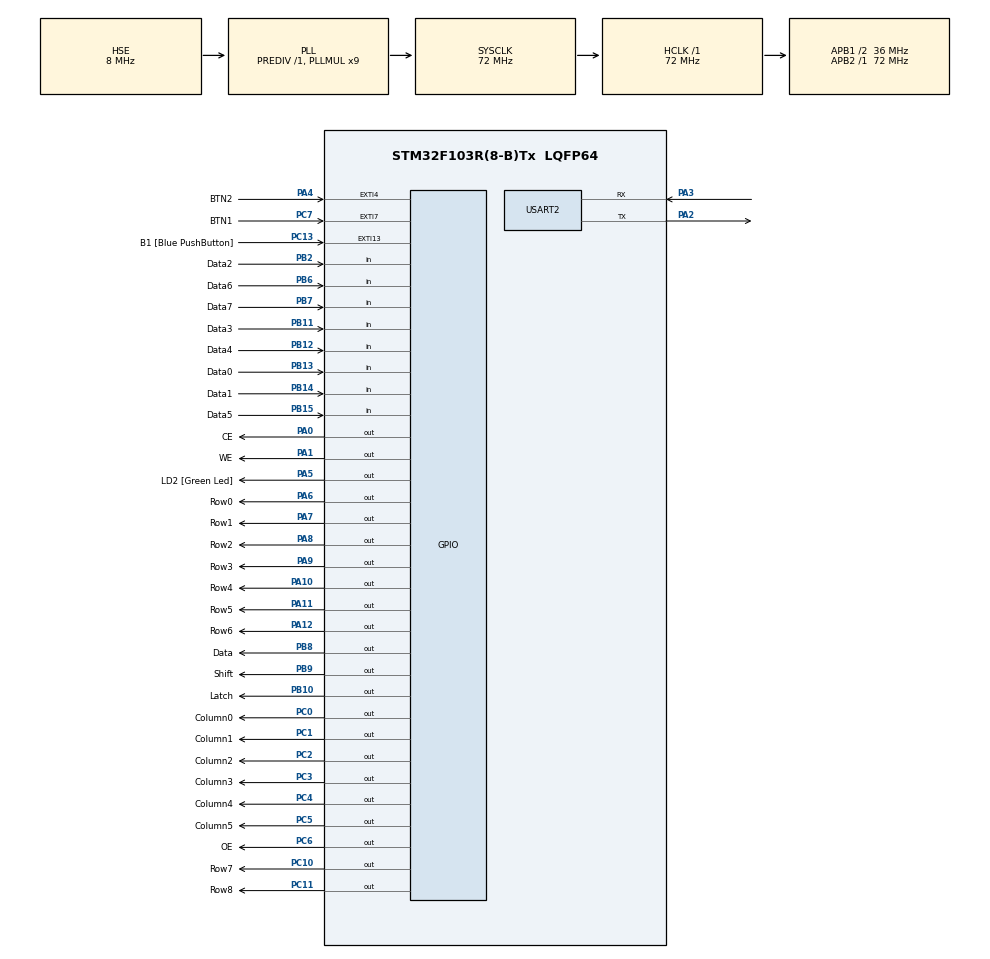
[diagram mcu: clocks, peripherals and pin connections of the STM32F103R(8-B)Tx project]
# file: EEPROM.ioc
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Mcu.Family=STM32F1
Mcu.Name=STM32F103R(8-B)Tx
Mcu.Package=LQFP64
NVIC.EXTI15_10_IRQn=true\:0\:0\:false\:false\:true\:true\:true\:true
NVIC.EXTI4_IRQn=true\:0\:0\:false\:false\:true\:true\:true\:true
NVIC.EXTI9_5_IRQn=true\:0\:0\:false\:false\:true\:true\:true\:true
NVIC.PriorityGroup=NVIC_PRIORITYGROUP_4
NVIC.USART2_IRQn=true\:0\:0\:false\:false\:true\:true\:true\:true
PA0-WKUP.GPIO_Label=CE
PA0-WKUP.GPIO_ModeDefaultOutputPP=GPIO_MODE_OUTPUT_OD
PA0-WKUP.GPIO_PuPd=GPIO_NOPULL
PA0-WKUP.Signal=GPIO_Output
PA1.GPIO_Label=WE
PA1.GPIO_ModeDefaultOutputPP=GPIO_MODE_OUTPUT_OD
PA1.GPIO_PuPd=GPIO_NOPULL
PA1.Signal=GPIO_Output
PA10.GPIO_Label=Row4
PA10.GPIO_ModeDefaultOutputPP=GPIO_MODE_OUTPUT_OD
PA10.GPIO_PuPd=GPIO_NOPULL
PA10.Signal=GPIO_Output
PA11.GPIO_Label=Row5
PA11.GPIO_ModeDefaultOutputPP=GPIO_MODE_OUTPUT_OD
PA11.GPIO_PuPd=GPIO_NOPULL
PA11.Signal=GPIO_Output
PA12.GPIO_Label=Row6
PA12.GPIO_ModeDefaultOutputPP=GPIO_MODE_OUTPUT_OD
PA12.GPIO_PuPd=GPIO_NOPULL
PA12.Signal=GPIO_Output
PA2.Mode=Asynchronous
PA2.Signal=USART2_TX
PA3.Mode=Asynchronous
PA3.Signal=USART2_RX
PA4.GPIO_Label=BTN2
PA4.Signal=GPXTI4
PA5.GPIO_Label=LD2 [Green Led]
PA5.GPIO_ModeDefaultOutputPP=GPIO_MODE_OUTPUT_PP
PA5.GPIO_PuPd=GPIO_NOPULL
PA5.GPIO_Speed=GPIO_SPEED_FREQ_LOW
PA5.Signal=GPIO_Output
PA6.GPIO_Label=Row0
PA6.GPIO_ModeDefaultOutputPP=GPIO_MODE_OUTPUT_OD
PA6.GPIO_PuPd=GPIO_NOPULL
PA6.Signal=GPIO_Output
PA7.GPIO_Label=Row1
PA7.GPIO_ModeDefaultOutputPP=GPIO_MODE_OUTPUT_OD
PA7.GPIO_PuPd=GPIO_NOPULL
PA7.Signal=GPIO_Output
PA8.GPIO_Label=Row2
PA8.GPIO_ModeDefaultOutputPP=GPIO_MODE_OUTPUT_OD
PA8.GPIO_PuPd=GPIO_NOPULL
PA8.Signal=GPIO_Output
PA9.GPIO_Label=Row3
PA9.GPIO_ModeDefaultOutputPP=GPIO_MODE_OUTPUT_OD
PA9.GPIO_PuPd=GPIO_NOPULL
PA9.Signal=GPIO_Output
PB10.GPIO_Label=Latch
PB10.GPIO_ModeDefaultOutputPP=GPIO_MODE_OUTPUT_PP
PB10.GPIO_PuPd=GPIO_NOPULL
PB10.Signal=GPIO_Output
PB11.GPIO_Label=Data3
PB11.Signal=GPIO_Input
PB12.GPIO_Label=Data4
PB12.Signal=GPIO_Input
PB13.GPIO_Label=Data0
PB13.Signal=GPIO_Input
PB14.GPIO_Label=Data1
PB14.Signal=GPIO_Input
PB15.GPIO_Label=Data5
PB15.Signal=GPIO_Input
PB2.GPIO_Label=Data2
PB2.Signal=GPIO_Input
PB6.GPIO_Label=Data6
PB6.Signal=GPIO_Input
PB7.GPIO_Label=Data7
PB7.Signal=GPIO_Input
PB8.GPIO_Label=Data
PB8.GPIO_ModeDefaultOutputPP=GPIO_MODE_OUTPUT_PP
PB8.GPIO_PuPd=GPIO_NOPULL
PB8.Signal=GPIO_Output
PB9.GPIO_Label=Shift
PB9.GPIO_ModeDefaultOutputPP=GPIO_MODE_OUTPUT_PP
PB9.GPIO_PuPd=GPIO_NOPULL
PB9.Signal=GPIO_Output
PC0.GPIO_Label=Column0
PC0.GPIO_ModeDefaultOutputPP=GPIO_MODE_OUTPUT_OD
PC0.GPIO_PuPd=GPIO_NOPULL
PC0.Signal=GPIO_Output
PC1.GPIO_Label=Column1
PC1.GPIO_ModeDefaultOutputPP=GPIO_MODE_OUTPUT_OD
PC1.GPIO_PuPd=GPIO_NOPULL
PC1.Signal=GPIO_Output
PC10.GPIO_Label=Row7
PC10.GPIO_ModeDefaultOutputPP=GPIO_MODE_OUTPUT_OD
PC10.GPIO_PuPd=GPIO_NOPULL
PC10.Signal=GPIO_Output
PC11.GPIO_Label=Row8
PC11.GPIO_ModeDefaultOutputPP=GPIO_MODE_OUTPUT_OD
PC11.GPIO_PuPd=GPIO_NOPULL
PC11.Signal=GPIO_Output
PC13-TAMPER-RTC.GPIO_Label=B1 [Blue PushButton]
PC13-TAMPER-RTC.GPIO_ModeDefaultEXTI=GPIO_MODE_IT_FALLING
PC13-TAMPER-RTC.GPIO_PuPd=GPIO_NOPULL
PC13-TAMPER-RTC.Signal=GPXTI13
PC14-OSC32_IN.Signal=RCC_OSC32_IN
PC15-OSC32_OUT.Signal=RCC_OSC32_OUT
PC2.GPIO_Label=Column2
PC2.GPIO_ModeDefaultOutputPP=GPIO_MODE_OUTPUT_OD
PC2.GPIO_PuPd=GPIO_NOPULL
PC2.Signal=GPIO_Output
PC3.GPIO_Label=Column3
PC3.GPIO_ModeDefaultOutputPP=GPIO_MODE_OUTPUT_OD
PC3.GPIO_PuPd=GPIO_NOPULL
PC3.Signal=GPIO_Output
PC4.GPIO_Label=Column4
PC4.GPIO_ModeDefaultOutputPP=GPIO_MODE_OUTPUT_OD
PC4.GPIO_PuPd=GPIO_NOPULL
PC4.Signal=GPIO_Output
PC5.GPIO_Label=Column5
PC5.GPIO_ModeDefaultOutputPP=GPIO_MODE_OUTPUT_OD
PC5.GPIO_PuPd=GPIO_NOPULL
PC5.Signal=GPIO_Output
PC6.GPIO_Label=OE
PC6.GPIO_ModeDefaultOutputPP=GPIO_MODE_OUTPUT_OD
PC6.GPIO_PuPd=GPIO_NOPULL
PC6.Signal=GPIO_Output
PC7.GPIO_Label=BTN1
PC7.Signal=GPXTI7
PD0-OSC_IN.Mode=HSE-External-Oscillator
PD0-OSC_IN.Signal=RCC_OSC_IN
PD1-OSC_OUT.Mode=HSE-External-Oscillator
PD1-OSC_OUT.Signal=RCC_OSC_OUT
ProjectManager.HeapSize=0x200
ProjectManager.StackSize=0x400
ProjectManager.TargetToolchain=MDK-ARM V5.32
RCC.AHBFreq_Value=72000000
RCC.APB1CLKDivider=RCC_HCLK_DIV2
RCC.APB1Freq_Value=36000000
RCC.APB1TimFreq_Value=72000000
RCC.APB2Freq_Value=72000000
RCC.APB2TimFreq_Value=72000000
RCC.HCLKFreq_Value=72000000
RCC.PLLMUL=RCC_PLL_MUL9
RCC.PLLSourceVirtual=RCC_PLLSOURCE_HSE
RCC.SYSCLKFreq_VALUE=72000000
RCC.SYSCLKSource=RCC_SYSCLKSOURCE_PLLCLK
RCC.USBFreq_Value=72000000
USART2.VirtualMode=VM_ASYNC
VP_SYS_VS_ND.Mode=No_Debug
board=NUCLEO-F103RB

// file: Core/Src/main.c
/* USER CODE BEGIN Header */
/**
  ******************************************************************************
  * @file           : main.c
  * @brief          : Main program body
  ******************************************************************************
  * @attention
  *
  * Copyright (c) 2022 STMicroelectronics.
  * All rights reserved.
  *
  * This software is licensed under terms that can be found in the LICENSE file
  * in the root directory of this software component.
  * If no LICENSE file comes with this software, it is provided AS-IS.
  *
  ******************************************************************************
  */
/* USER CODE END Header */
#include "main.h"

UART_HandleTypeDef huart2;

/* USER CODE BEGIN PV */

const int packSize = 64;
uint8_t recvBuf;
uint8_t sendBuf[64];
uint8_t sendBufBig[64*2];

int flag_irq = 0;
int time_irq = 0;

uint8_t data[8];
int row = 0;
int col = 0;
int bufCol = 0;
int bufRow = 0;

/* USER CODE END PV */

void SystemClock_Config(void);
static void MX_GPIO_Init(void);
static void MX_USART2_UART_Init(void);

int main(void)
{

  /* MCU Configuration--------------------------------------------------------*/

  /* Reset of all peripherals, Initializes the Flash interface and the Systick. */
  HAL_Init();

  /* Configure the system clock */
  SystemClock_Config();

  /* Initialize all configured peripherals */
  MX_GPIO_Init();
  MX_USART2_UART_Init();

  /* Infinite loop */
  /* USER CODE BEGIN WHILE */

	HAL_UART_Receive_IT (&huart2, &recvBuf, 1);

  while (1)
  {

    /* USER CODE END WHILE */

  }
}

void SystemClock_Config(void)
{
  RCC_OscInitTypeDef RCC_OscInitStruct = {0};
  RCC_ClkInitTypeDef RCC_ClkInitStruct = {0};

  /** Initializes the RCC Oscillators according to the specified parameters
  * in the RCC_OscInitTypeDef structure.
  */
  RCC_OscInitStruct.OscillatorType = RCC_OSCILLATORTYPE_HSE;
  RCC_OscInitStruct.HSEState = RCC_HSE_ON;
  RCC_OscInitStruct.HSEPredivValue = RCC_HSE_PREDIV_DIV1;
  RCC_OscInitStruct.HSIState = RCC_HSI_ON;
  RCC_OscInitStruct.PLL.PLLState = RCC_PLL_ON;
  RCC_OscInitStruct.PLL.PLLSource = RCC_PLLSOURCE_HSE;
  RCC_OscInitStruct.PLL.PLLMUL = RCC_PLL_MUL9;
  if (HAL_RCC_OscConfig(&RCC_OscInitStruct) != HAL_OK)
  {
    Error_Handler();
  }

  /** Initializes the CPU, AHB and APB buses clocks
  */
  RCC_ClkInitStruct.ClockType = RCC_CLOCKTYPE_HCLK|RCC_CLOCKTYPE_SYSCLK
                              |RCC_CLOCKTYPE_PCLK1|RCC_CLOCKTYPE_PCLK2;
  RCC_ClkInitStruct.SYSCLKSource = RCC_SYSCLKSOURCE_PLLCLK;
  RCC_ClkInitStruct.AHBCLKDivider = RCC_SYSCLK_DIV1;
  RCC_ClkInitStruct.APB1CLKDivider = RCC_HCLK_DIV2;
  RCC_ClkInitStruct.APB2CLKDivider = RCC_HCLK_DIV1;

  if (HAL_RCC_ClockConfig(&RCC_ClkInitStruct, FLASH_LATENCY_2) != HAL_OK)
  {
    Error_Handler();
  }
}

static void MX_USART2_UART_Init(void)
{

  huart2.Instance = USART2;
  huart2.Init.BaudRate = 115200;
  huart2.Init.WordLength = UART_WORDLENGTH_8B;
  huart2.Init.StopBits = UART_STOPBITS_1;
  huart2.Init.Parity = UART_PARITY_NONE;
  huart2.Init.Mode = UART_MODE_TX_RX;
  huart2.Init.HwFlowCtl = UART_HWCONTROL_NONE;
  huart2.Init.OverSampling = UART_OVERSAMPLING_16;
  if (HAL_UART_Init(&huart2) != HAL_OK)
  {
    Error_Handler();
  }

}

static void MX_GPIO_Init(void)
{
  GPIO_InitTypeDef GPIO_InitStruct = {0};

  /* GPIO Ports Clock Enable */
  __HAL_RCC_GPIOC_CLK_ENABLE();
  __HAL_RCC_GPIOD_CLK_ENABLE();
  __HAL_RCC_GPIOA_CLK_ENABLE();
  __HAL_RCC_GPIOB_CLK_ENABLE();

  /*Configure GPIO pin Output Level */
  HAL_GPIO_WritePin(GPIOC, Column0_Pin|Column1_Pin|Column2_Pin|Column3_Pin
                          |Column4_Pin|Column5_Pin|OE_Pin|Row7_Pin
                          |Row8_Pin, GPIO_PIN_RESET);

  /*Configure GPIO pin Output Level */
  HAL_GPIO_WritePin(GPIOA, CE_Pin|WE_Pin|LD2_Pin|Row0_Pin
                          |Row1_Pin|Row2_Pin|Row3_Pin|Row4_Pin
                          |Row5_Pin|Row6_Pin, GPIO_PIN_RESET);

  /*Configure GPIO pin Output Level */
  HAL_GPIO_WritePin(GPIOB, Latch_Pin|Data_Pin|Shift_Pin, GPIO_PIN_RESET);

  /*Configure GPIO pin : B1_Pin */
  GPIO_InitStruct.Pin = B1_Pin;
  GPIO_InitStruct.Mode = GPIO_MODE_IT_FALLING;
  GPIO_InitStruct.Pull = GPIO_NOPULL;
  HAL_GPIO_Init(B1_GPIO_Port, &GPIO_InitStruct);

  /*Configure GPIO pins : Column0_Pin Column1_Pin Column2_Pin Column3_Pin
                           Column4_Pin Column5_Pin OE_Pin Row7_Pin
                           Row8_Pin */
  GPIO_InitStruct.Pin = Column0_Pin|Column1_Pin|Column2_Pin|Column3_Pin
                          |Column4_Pin|Column5_Pin|OE_Pin|Row7_Pin
                          |Row8_Pin;
  GPIO_InitStruct.Mode = GPIO_MODE_OUTPUT_OD;
  GPIO_InitStruct.Pull = GPIO_NOPULL;
  GPIO_InitStruct.Speed = GPIO_SPEED_FREQ_LOW;
  HAL_GPIO_Init(GPIOC, &GPIO_InitStruct);

  /*Configure GPIO pins : CE_Pin WE_Pin Row0_Pin Row1_Pin
                           Row2_Pin Row3_Pin Row4_Pin Row5_Pin
                           Row6_Pin */
  GPIO_InitStruct.Pin = CE_Pin|WE_Pin|Row0_Pin|Row1_Pin
                          |Row2_Pin|Row3_Pin|Row4_Pin|Row5_Pin
                          |Row6_Pin;
  GPIO_InitStruct.Mode = GPIO_MODE_OUTPUT_OD;
  GPIO_InitStruct.Pull = GPIO_NOPULL;
  GPIO_InitStruct.Speed = GPIO_SPEED_FREQ_LOW;
  HAL_GPIO_Init(GPIOA, &GPIO_InitStruct);

  /*Configure GPIO pin : BTN2_Pin */
  GPIO_InitStruct.Pin = BTN2_Pin;
  GPIO_InitStruct.Mode = GPIO_MODE_IT_RISING;
  GPIO_InitStruct.Pull = GPIO_NOPULL;
  HAL_GPIO_Init(BTN2_GPIO_Port, &GPIO_InitStruct);

  /*Configure GPIO pin : LD2_Pin */
  GPIO_InitStruct.Pin = LD2_Pin;
  GPIO_InitStruct.Mode = GPIO_MODE_OUTPUT_PP;
  GPIO_InitStruct.Pull = GPIO_NOPULL;
  GPIO_InitStruct.Speed = GPIO_SPEED_FREQ_LOW;
  HAL_GPIO_Init(LD2_GPIO_Port, &GPIO_InitStruct);

  /*Configure GPIO pins : Data2_Pin Data3_Pin Data4_Pin Data0_Pin
                           Data1_Pin Data5_Pin Data6_Pin Data7_Pin */
  GPIO_InitStruct.Pin = Data2_Pin|Data3_Pin|Data4_Pin|Data0_Pin
                          |Data1_Pin|Data5_Pin|Data6_Pin|Data7_Pin;
  GPIO_InitStruct.Mode = GPIO_MODE_INPUT;
  GPIO_InitStruct.Pull = GPIO_NOPULL;
  HAL_GPIO_Init(GPIOB, &GPIO_InitStruct);

  /*Configure GPIO pins : Latch_Pin Data_Pin Shift_Pin */
  GPIO_InitStruct.Pin = Latch_Pin|Data_Pin|Shift_Pin;
  GPIO_InitStruct.Mode = GPIO_MODE_OUTPUT_PP;
  GPIO_InitStruct.Pull = GPIO_NOPULL;
  GPIO_InitStruct.Speed = GPIO_SPEED_FREQ_LOW;
  HAL_GPIO_Init(GPIOB, &GPIO_InitStruct);

  /*Configure GPIO pin : BTN1_Pin */
  GPIO_InitStruct.Pin = BTN1_Pin;
  GPIO_InitStruct.Mode = GPIO_MODE_IT_RISING;
  GPIO_InitStruct.Pull = GPIO_NOPULL;
  HAL_GPIO_Init(BTN1_GPIO_Port, &GPIO_InitStruct);

  /* EXTI interrupt init*/
  HAL_NVIC_SetPriority(EXTI4_IRQn, 0, 0);
  HAL_NVIC_EnableIRQ(EXTI4_IRQn);

  HAL_NVIC_SetPriority(EXTI9_5_IRQn, 0, 0);
  HAL_NVIC_EnableIRQ(EXTI9_5_IRQn);

  HAL_NVIC_SetPriority(EXTI15_10_IRQn, 0, 0);
  HAL_NVIC_EnableIRQ(EXTI15_10_IRQn);

}

/* USER CODE BEGIN 4 */
uint8_t ReadEEPROM(){

	HAL_GPIO_WritePin(CE_GPIO_Port, CE_Pin, GPIO_PIN_RESET);
	HAL_GPIO_WritePin(WE_GPIO_Port, WE_Pin, GPIO_PIN_SET);

	HAL_GPIO_WritePin(Row0_GPIO_Port, Row0_Pin, GPIO_PIN_RESET);
	HAL_GPIO_WritePin(Row1_GPIO_Port, Row1_Pin, GPIO_PIN_RESET);
	HAL_GPIO_WritePin(Row2_GPIO_Port, Row2_Pin, GPIO_PIN_RESET);
	HAL_GPIO_WritePin(Row3_GPIO_Port, Row3_Pin, GPIO_PIN_RESET);
	HAL_GPIO_WritePin(Row4_GPIO_Port, Row4_Pin, GPIO_PIN_RESET);
	HAL_GPIO_WritePin(Row5_GPIO_Port, Row5_Pin, GPIO_PIN_RESET);
	HAL_GPIO_WritePin(Row6_GPIO_Port, Row6_Pin, GPIO_PIN_RESET);
	HAL_GPIO_WritePin(Row7_GPIO_Port, Row7_Pin, GPIO_PIN_RESET);
	HAL_GPIO_WritePin(Row8_GPIO_Port, Row8_Pin, GPIO_PIN_RESET);
	HAL_GPIO_WritePin(Column0_GPIO_Port, Column0_Pin, GPIO_PIN_RESET);
	HAL_GPIO_WritePin(Column1_GPIO_Port, Column1_Pin, GPIO_PIN_RESET);
	HAL_GPIO_WritePin(Column2_GPIO_Port, Column2_Pin, GPIO_PIN_RESET);
	HAL_GPIO_WritePin(Column3_GPIO_Port, Column3_Pin, GPIO_PIN_RESET);
	HAL_GPIO_WritePin(Column4_GPIO_Port, Column4_Pin, GPIO_PIN_RESET);
	HAL_GPIO_WritePin(Column5_GPIO_Port, Column5_Pin, GPIO_PIN_RESET);

	if ((row & 0b000000001) == 1)
		HAL_GPIO_WritePin(Row0_GPIO_Port, Row0_Pin, GPIO_PIN_SET);
	if (((row & 0b000000010) >> 1) == 1)
		HAL_GPIO_WritePin(Row1_GPIO_Port, Row1_Pin, GPIO_PIN_SET);
	if (((row & 0b000000100) >> 2) == 1)
		HAL_GPIO_WritePin(Row2_GPIO_Port, Row2_Pin, GPIO_PIN_SET);
	if (((row & 0b000001000) >> 3) == 1)
		HAL_GPIO_WritePin(Row3_GPIO_Port, Row3_Pin, GPIO_PIN_SET);
	if (((row & 0b000010000) >> 4) == 1)
		HAL_GPIO_WritePin(Row4_GPIO_Port, Row4_Pin, GPIO_PIN_SET);
	if (((row & 0b000100000) >> 5) == 1)
		HAL_GPIO_WritePin(Row5_GPIO_Port, Row5_Pin, GPIO_PIN_SET);
	if (((row & 0b001000000) >> 6) == 1)
		HAL_GPIO_WritePin(Row6_GPIO_Port, Row6_Pin, GPIO_PIN_SET);
	if (((row & 0b010000000) >> 7) == 1)
		HAL_GPIO_WritePin(Row7_GPIO_Port, Row7_Pin, GPIO_PIN_SET);
	if (((row & 0b100000000) >> 8) == 1)
		HAL_GPIO_WritePin(Row8_GPIO_Port, Row8_Pin, GPIO_PIN_SET);

	if ((col & 0b000001) == 1)
		HAL_GPIO_WritePin(Column0_GPIO_Port, Column0_Pin, GPIO_PIN_SET);
	if (((col & 0b000010) >> 1) == 1)
		HAL_GPIO_WritePin(Column1_GPIO_Port, Column1_Pin, GPIO_PIN_SET);
	if (((col & 0b000100) >> 2) == 1)
		HAL_GPIO_WritePin(Column2_GPIO_Port, Column2_Pin, GPIO_PIN_SET);
	if (((col & 0b001000) >> 3) == 1)
		HAL_GPIO_WritePin(Column3_GPIO_Port, Column3_Pin, GPIO_PIN_SET);
	if (((col & 0b010000) >> 4) == 1)
		HAL_GPIO_WritePin(Column4_GPIO_Port, Column4_Pin, GPIO_PIN_SET);
	if (((col & 0b100000) >> 5) == 1)
		HAL_GPIO_WritePin(Column5_GPIO_Port, Column5_Pin, GPIO_PIN_SET);

	HAL_GPIO_WritePin(OE_GPIO_Port, OE_Pin, GPIO_PIN_RESET);

	data[0] = HAL_GPIO_ReadPin(Data0_GPIO_Port, Data0_Pin);
	data[1] = HAL_GPIO_ReadPin(Data1_GPIO_Port, Data1_Pin);
	data[2] = HAL_GPIO_ReadPin(Data2_GPIO_Port, Data2_Pin);
	data[3] = HAL_GPIO_ReadPin(Data3_GPIO_Port, Data3_Pin);
	data[4] = HAL_GPIO_ReadPin(Data4_GPIO_Port, Data4_Pin);
	data[5] = HAL_GPIO_ReadPin(Data5_GPIO_Port, Data5_Pin);
	data[6] = HAL_GPIO_ReadPin(Data6_GPIO_Port, Data6_Pin);
	data[7] = HAL_GPIO_ReadPin(Data7_GPIO_Port, Data7_Pin);

	//if ((data[7] << 7) + (data[6] << 6) + (data[5] << 5) + (data[4] << 4) + (data[3] << 3) + (data[2] << 2) + (data[1] << 1) + data[0] != 0b11111111)
	//{
	//	HAL_GPIO_WritePin(LD2_GPIO_Port, LD2_Pin, GPIO_PIN_SET);
	//	while(1){
	//	}
	//}

	HAL_GPIO_WritePin(CE_GPIO_Port, CE_Pin, GPIO_PIN_RESET);
	HAL_GPIO_WritePin(OE_GPIO_Port, OE_Pin, GPIO_PIN_RESET);

	return (data[7] << 7) + (data[6] << 6) + (data[5] << 5) + (data[4] << 4) + (data[3] << 3) + (data[2] << 2) + (data[1] << 1) + data[0];
}

void WriteEEPROM(uint8_t wrt){

	GPIO_InitTypeDef GPIO_InitStruct;
	GPIO_InitStruct.Pin = Data0_Pin|Data1_Pin|Data2_Pin|Data3_Pin
                          |Data4_Pin|Data5_Pin|Data6_Pin|Data7_Pin;
	GPIO_InitStruct.Mode = GPIO_MODE_OUTPUT_OD;
  GPIO_InitStruct.Pull = GPIO_NOPULL;
  GPIO_InitStruct.Speed = GPIO_SPEED_FREQ_LOW;
  HAL_GPIO_Init(GPIOB, &GPIO_InitStruct);

	HAL_GPIO_WritePin(OE_GPIO_Port, OE_Pin, GPIO_PIN_RESET);
	HAL_GPIO_WritePin(CE_GPIO_Port, CE_Pin, GPIO_PIN_SET);
	HAL_GPIO_WritePin(WE_GPIO_Port, WE_Pin, GPIO_PIN_SET);

	HAL_GPIO_WritePin(Row0_GPIO_Port, Row0_Pin, GPIO_PIN_RESET);
	HAL_GPIO_WritePin(Row1_GPIO_Port, Row1_Pin, GPIO_PIN_RESET);
	HAL_GPIO_WritePin(Row2_GPIO_Port, Row2_Pin, GPIO_PIN_RESET);
	HAL_GPIO_WritePin(Row3_GPIO_Port, Row3_Pin, GPIO_PIN_RESET);
	HAL_GPIO_WritePin(Row4_GPIO_Port, Row4_Pin, GPIO_PIN_RESET);
	HAL_GPIO_WritePin(Row5_GPIO_Port, Row5_Pin, GPIO_PIN_RESET);
	HAL_GPIO_WritePin(Row6_GPIO_Port, Row6_Pin, GPIO_PIN_RESET);
	HAL_GPIO_WritePin(Row7_GPIO_Port, Row7_Pin, GPIO_PIN_RESET);
	HAL_GPIO_WritePin(Row8_GPIO_Port, Row8_Pin, GPIO_PIN_RESET);
	HAL_GPIO_WritePin(Column0_GPIO_Port, Column0_Pin, GPIO_PIN_RESET);
	HAL_GPIO_WritePin(Column1_GPIO_Port, Column1_Pin, GPIO_PIN_RESET);
	HAL_GPIO_WritePin(Column2_GPIO_Port, Column2_Pin, GPIO_PIN_RESET);
	HAL_GPIO_WritePin(Column3_GPIO_Port, Column3_Pin, GPIO_PIN_RESET);
	HAL_GPIO_WritePin(Column4_GPIO_Port, Column4_Pin, GPIO_PIN_RESET);
	HAL_GPIO_WritePin(Column5_GPIO_Port, Column5_Pin, GPIO_PIN_RESET);

	if (row & 0b000000001)
		HAL_GPIO_WritePin(Row0_GPIO_Port, Row0_Pin, GPIO_PIN_SET);
	if (row & 0b000000010)
		HAL_GPIO_WritePin(Row1_GPIO_Port, Row1_Pin, GPIO_PIN_SET);
	if (row & 0b000000100)
		HAL_GPIO_WritePin(Row2_GPIO_Port, Row2_Pin, GPIO_PIN_SET);
	if (row & 0b000001000)
		HAL_GPIO_WritePin(Row3_GPIO_Port, Row3_Pin, GPIO_PIN_SET);
	if (row & 0b000010000)
		HAL_GPIO_WritePin(Row4_GPIO_Port, Row4_Pin, GPIO_PIN_SET);
	if (row & 0b000100000)
		HAL_GPIO_WritePin(Row5_GPIO_Port, Row5_Pin, GPIO_PIN_SET);
	if (row & 0b001000000)
		HAL_GPIO_WritePin(Row6_GPIO_Port, Row6_Pin, GPIO_PIN_SET);
	if (row & 0b010000000)
		HAL_GPIO_WritePin(Row7_GPIO_Port, Row7_Pin, GPIO_PIN_SET);
	if (row & 0b100000000)
		HAL_GPIO_WritePin(Row8_GPIO_Port, Row8_Pin, GPIO_PIN_SET);

	if (col & 0b000001)
		HAL_GPIO_WritePin(Column0_GPIO_Port, Column0_Pin, GPIO_PIN_SET);
	if (col & 0b000010)
		HAL_GPIO_WritePin(Column1_GPIO_Port, Column1_Pin, GPIO_PIN_SET);
	if (col & 0b000100)
		HAL_GPIO_WritePin(Column2_GPIO_Port, Column2_Pin, GPIO_PIN_SET);
	if (col & 0b001000)
		HAL_GPIO_WritePin(Column3_GPIO_Port, Column3_Pin, GPIO_PIN_SET);
	if (col & 0b010000)
		HAL_GPIO_WritePin(Column4_GPIO_Port, Column4_Pin, GPIO_PIN_SET);
	if (col & 0b100000)
		HAL_GPIO_WritePin(Column5_GPIO_Port, Column5_Pin, GPIO_PIN_SET);

	HAL_GPIO_WritePin(CE_GPIO_Port, CE_Pin, GPIO_PIN_RESET);
	HAL_GPIO_WritePin(WE_GPIO_Port, WE_Pin, GPIO_PIN_RESET);

	/*
	HAL_GPIO_WritePin(GPIOB, Data0_Pin, GPIO_PIN_SET);
	HAL_GPIO_WritePin(GPIOB, Data1_Pin, GPIO_PIN_SET);
  HAL_GPIO_WritePin(GPIOB, Data2_Pin, GPIO_PIN_SET);
	HAL_GPIO_WritePin(GPIOB, Data3_Pin, GPIO_PIN_SET);
	HAL_GPIO_WritePin(GPIOB, Data4_Pin, GPIO_PIN_SET);
	HAL_GPIO_WritePin(GPIOB, Data5_Pin, GPIO_PIN_SET);
	HAL_GPIO_WritePin(GPIOB, Data6_Pin, GPIO_PIN_SET);
	HAL_GPIO_WritePin(GPIOB, Data7_Pin, GPIO_PIN_SET); */

	HAL_GPIO_WritePin(GPIOB, Data7_Pin, (wrt & 0b00000001));
	HAL_GPIO_WritePin(GPIOB, Data6_Pin, (wrt & 0b00000010) >> 1);
  HAL_GPIO_WritePin(GPIOB, Data5_Pin, (wrt & 0b00000100) >> 2);
	HAL_GPIO_WritePin(GPIOB, Data4_Pin, (wrt & 0b00001000) >> 3);
	HAL_GPIO_WritePin(GPIOB, Data3_Pin, (wrt & 0b00010000) >> 4);
	HAL_GPIO_WritePin(GPIOB, Data2_Pin, (wrt & 0b00100000) >> 5);
	HAL_GPIO_WritePin(GPIOB, Data1_Pin, (wrt & 0b01000000) >> 6);
	HAL_GPIO_WritePin(GPIOB, Data0_Pin, (wrt & 0b10000000) >> 7);

	HAL_GPIO_WritePin(CE_GPIO_Port, CE_Pin, GPIO_PIN_SET);
	HAL_GPIO_WritePin(WE_GPIO_Port, WE_Pin, GPIO_PIN_SET);

	HAL_GPIO_WritePin(OE_GPIO_Port, OE_Pin, GPIO_PIN_RESET);

	GPIO_InitTypeDef GPIO_InitStruct_;
	GPIO_InitStruct_.Pin = Data0_Pin|Data1_Pin|Data2_Pin|Data3_Pin
                          |Data4_Pin|Data5_Pin|Data6_Pin|Data7_Pin;
  GPIO_InitStruct_.Mode = GPIO_MODE_INPUT;
  GPIO_InitStruct_.Pull = GPIO_NOPULL;
  HAL_GPIO_Init(GPIOB, &GPIO_InitStruct_);
}

void HAL_GPIO_EXTI_Callback(uint16_t GPIO_Pin)
{

}

void incAddr(){
	col++;
	if (col > 63){
		col = 0;
		row++;
		if (row > 511)
			row = 0;
	}
}
void decAddr(){
	col--;
	if (col < 0){
		col = 63;
		row--;
		if (row < 0)
			row = 511;
	}
}

void HAL_UART_RxCpltCallback(UART_HandleTypeDef *huart) {

	int oldCol = col;
	int oldRow = row;

	switch(recvBuf){

		case 0b00000001: //Read
			for (int i=0; i<packSize; i++){
				sendBuf[i] = ReadEEPROM();
				incAddr();
			}
			HAL_UART_Transmit_IT(&huart2, sendBuf, packSize);
			break;

		case 0b00000010: //write 0

			for (int i=0; i<packSize; i++){
				WriteEEPROM(0b00000000);
				incAddr();
			}

			col = oldCol;
			row = oldRow;
			for (int i=0; i<packSize; i++){
				sendBuf[i] = ReadEEPROM();
				incAddr();
			}
			HAL_UART_Transmit_IT(&huart2, sendBuf, packSize);
			break;

		case 0b00000011: //write 1

			for (int i=0; i<packSize; i++){
				WriteEEPROM(0b11111111);
				incAddr();
			}

			col = oldCol;
			row = oldRow;
			for (int i=0; i<packSize; i++){

				sendBuf[i] = ReadEEPROM();
				incAddr();
			}
			HAL_UART_Transmit_IT(&huart2, sendBuf, packSize);
			break;

		case 0b10000000: //Marching test

			for (int i=0; i<packSize; i++){
				WriteEEPROM(0b00000000);
				incAddr();
			}

			col = oldCol;
			row = oldRow;

			for (int i=0; i<packSize; i++){

				sendBufBig[i] = ReadEEPROM();
				incAddr();
			}

			col = oldCol;
			row = oldRow;

			for (int i=0; i<packSize; i++){
				WriteEEPROM(0b11111111);
				incAddr();
			}

			col = oldCol;
			row = oldRow;

			for (int i=0; i<packSize; i++){

				sendBufBig[i+packSize] = ReadEEPROM();
				incAddr();
			}

			HAL_UART_Transmit_IT(&huart2, sendBufBig, packSize*2);

			break;
		case 0b00001000: //Save position
			bufCol = col;
			bufRow = row;
			break;
		case 0b00001100: //Load position
			col = bufCol;
			row = bufRow;
			break;
		case 0b00001110: //ClearPosition
			col = 0;
			row = 0;
			break;

	}

	HAL_UART_Receive_IT (&huart2, &recvBuf, 1);

}
/* USER CODE END 4 */

void Error_Handler(void)
{
  __disable_irq();
  while (1)
  {
  }
}
